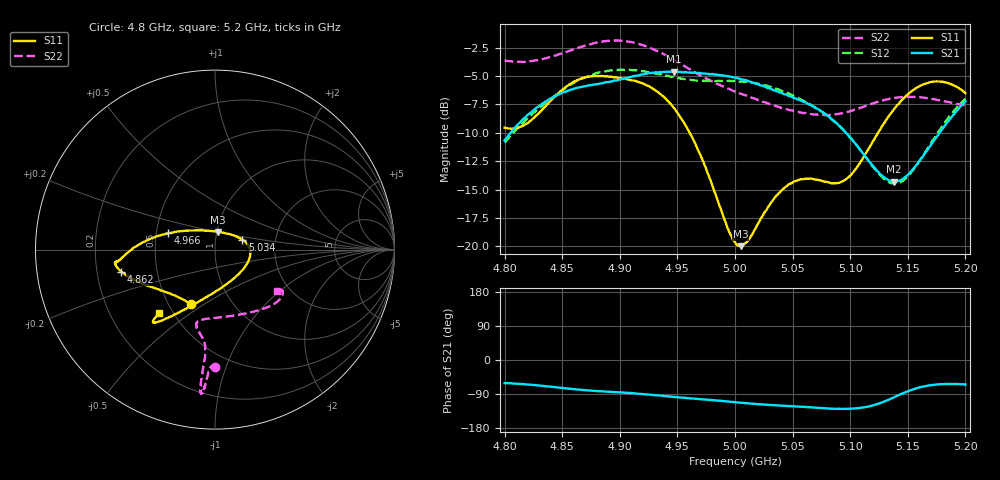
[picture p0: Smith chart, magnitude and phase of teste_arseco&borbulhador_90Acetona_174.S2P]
! Network Analyzer HP8722D
! Hewlett-Packard
! Data name: Linha & Wilkinson
! Saver's name: Rodrigo Anjos
! Comments: Teste da utilização de aquisição
! continua pelo VNA HP8722D
! Time and date: 17/4/2025 12:30
!  Frequency  S11  S21  S12  S22
# HZ  S  MA R 50
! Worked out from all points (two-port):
!   401 points, 4.8 GHz to 5.2 GHz, reference 50 ohm
!   highest |S21| = -4.62 dB at 4.947 GHz (marker M1); lowest = -14.3 dB at 5.138 GHz (marker M2)
!   |S21| within 3 dB of the highest: 4.83 GHz to 5.067 GHz (236.7 MHz wide, 4.78 % of centre); 5.196399 GHz to end of sweep
!   lowest |S11| = -20.0 dB at 5.005 GHz (marker M3), VSWR 1.22, Z = 50.5 + j10.1 ohm
!   |S11| at or under -10 dB: 4.961 GHz to 5.124 GHz (163.6 MHz wide, 3.24 % of centre)
!   |S22| runs from -8.5 to -1.9 dB; largest |S21 - S12| = 0.88
!   S11 on the Smith chart (normalised r, x): 4.8 GHz: 0.64, -0.44; 4.862 GHz: 0.31, -0.11; 4.966 GHz: 0.57, +0.11; 5.034 GHz: 1.35, +0.16; 5.2 GHz: 0.42, -0.38
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4.8e9  0.3329 -114.0  0.2923 -61.0  0.286 -175.3  0.6559 -90.0
4.819e9  0.3472 -134.0  0.3741 -64.3  0.3622 -174.0  0.6513 -91.6
4.862e9  0.5358 -166.6  0.4986 -77.5  0.5309 -177.2  0.7433 -93.9
4.867e9  0.5475 -168.6  0.5029 -78.9  0.5469 -178.1  0.7573 -94.1
4.9e9  0.5506 -173.1  0.5419 -85.4  0.598 175.3  0.8036 -95.5
4.934e9  0.4736 -179.3  0.5834 -93.8  0.573 171.6  0.7157 -96.1
4.947e9  0.4066 174.5  0.5873 -97.4  0.5561 171.8  0.6609 -95.7
4.966e9  0.279 161.1  0.5802 -102.2  0.5365 173.5  0.5797 -95.2
5e9  0.1042 98.5  0.5525 -111.5  0.5358 175.9  0.4799 -99.5
5.005e9  0.1001 81.2  0.544 -112.7  0.5311 175.8  0.4686 -100.7
5.012e9  0.1075 59.3  0.5326 -114.5  0.528 175.8  0.4557 -102.1
5.034e9  0.1624 20.2  0.4855 -119.4  0.4978 174.7  0.4171 -103.8
5.05e9  0.1912 4.0  0.4521 -122.1  0.4609 173.8  0.396 -99.8
5.067e9  0.1982 -14.1  0.416 -125.1  0.4172 173.4  0.3811 -90.9
5.086e9  0.1898 -44.2  0.3571 -128.5  0.3545 173.3  0.3806 -76.4
5.097e9  0.1982 -66.9  0.313 -128.9  0.3128 174.5  0.3894 -67.4
5.134e9  0.3768 -117.2  0.1947 -103.9  0.1911 -157.0  0.4458 -43.1
5.138e9  0.4017 -119.5  0.1924 -98.5  0.1887 -150.6  0.4492 -41.3
5.15e9  0.4664 -125.0  0.2058 -82.5  0.2033 -132.0  0.455 -36.9
5.17e9  0.5284 -129.7  0.2787 -66.5  0.2837 -112.7  0.4465 -32.1
5.184e9  0.5249 -131.0  0.3506 -63.2  0.3608 -107.4  0.4328 -31.2
5.2e9  0.4726 -131.4  0.4344 -64.7  0.4463 -106.7  0.4165 -33.7
